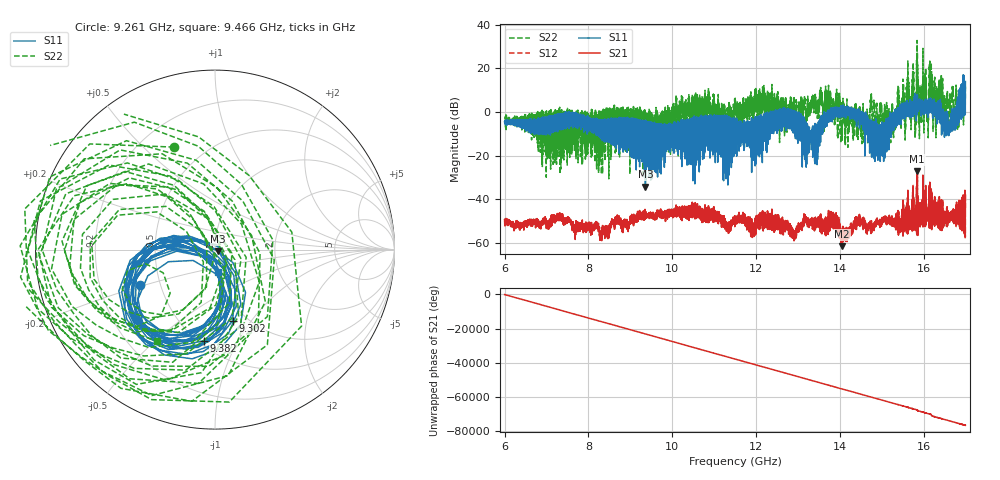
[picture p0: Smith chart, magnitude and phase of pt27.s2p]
#  HZ  S  RI  R  50.00
! Rohde & Schwarz Vector Network Analyzer
! Rohde-Schwarz,ZNA67-2Port,1332450062101215,3.01
! Created: UTC 10/27/2026, 1:40:31 PM
! freq[Hz]  re:S11  im:S11  re:S21  im:S21  re:S12  im:S12  re:S22  im:S22
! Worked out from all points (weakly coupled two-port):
!   11001 points, 6 GHz to 17 GHz, reference 50 ohm
!   highest |S21| = -27.16 dB at 15.85 GHz (marker M1); lowest = -61.5 dB at 14.06 GHz (marker M2)
!   lowest |S11| = -34.2 dB at 9.362 GHz (marker M3), VSWR 1.04, Z = 51.8 - j0.887 ohm
!   |S11| at or under -10 dB: 13.27775 GHz to 13.28502 GHz (7.264 MHz wide, 0.0547 % of centre); 13.29121 GHz to 13.30427 GHz (13.05 MHz wide, 0.0982 % of centre); 13.37682 GHz to 13.39246 GHz (15.64 MHz wide, 0.117 % of centre) (the widest 3 of 481)
!   |S22| runs from -30.6 to 32.8 dB; largest |S21 - S12| = 0.0017
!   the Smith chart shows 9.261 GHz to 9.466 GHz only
!   S11 on the Smith chart (normalised r, x): 9.261 GHz: 0.38, -0.19; 9.302 GHz: 0.86, -0.82; 9.382 GHz: 0.53, -0.73; 9.466 GHz: 1.00, -0.25
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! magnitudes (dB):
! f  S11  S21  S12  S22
! 6 GHz  -4.5  -49.2  -49.1  -4.5
! 7.834 GHz  -6.5  -52.7  -52.7  -17.1
! 8.32 GHz  -9.9  -53.7  -53.9  0.3
! 9.261 GHz  -6.7  -46.9  -47.0  -4.2
! 9.302 GHz  -7.8  -47.1  -47.1  -8.4
! 9.362 GHz  -34.2  -45.6  -45.6  -2.5
! 9.382 GHz  -5.8  -48.5  -48.4  -3.3
! 9.466 GHz  -18.0  -47.7  -47.5  -4.4
! 9.667 GHz  -7.3  -45.9  -45.9  -7.1
! 11.5 GHz  -3.7  -50.2  -50.2  2.3
! 12.69 GHz  -5.8  -54.2  -54.6  -2.1
! 12.91 GHz  -0.5  -57.2  -57.9  5.8
! 13.33 GHz  -9.8  -49.7  -49.5  4.7
! 13.84 GHz  0.4  -52.4  -52.3  0.1
! 14.06 GHz  -1.4  -61.5  -61.0  -6.9
! 14.94 GHz  -6.9  -51.5  -51.4  -8.7
! 15.17 GHz  -6.6  -49.7  -49.5  -4.9
! 15.85 GHz  3.4  -27.2  -27.0  32.8
! 16.4 GHz  5.8  -44.1  -43.9  2.1
! 16.6 GHz  -5.5  -47.1  -46.8  -4.0
! 16.94 GHz  0.0  -53.1  -52.8  -1.1
! 17 GHz  13.9  -37.9  -37.9  11.5
